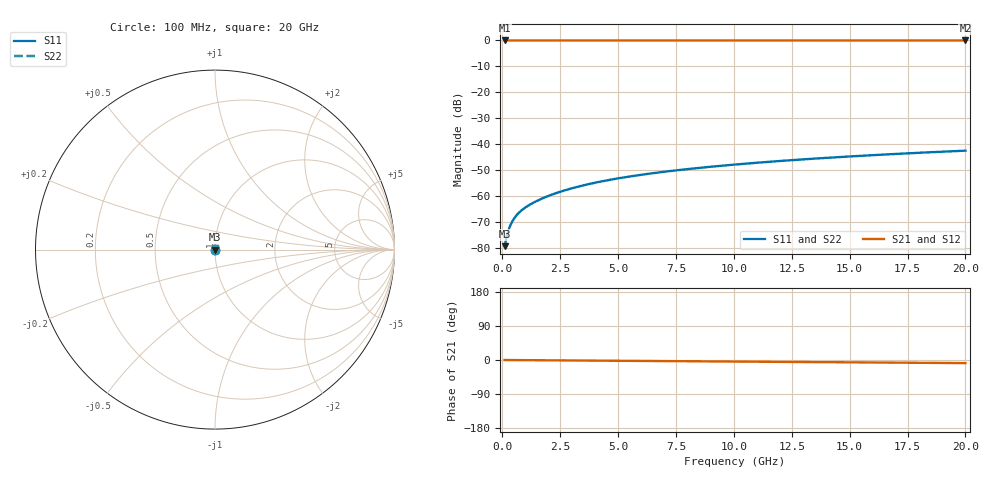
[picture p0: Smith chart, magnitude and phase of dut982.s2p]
! Touchstone file exported from HFSS 2026.1.0
!  File:  C:/ffzhzh/LocalFiles/Ansys_Project_Files/temp_train_TSV_982_1783188003_22436.aedt
!  Generated:  02:01:39 AM Jul  5, 2026
!  Design:  TSV
!  Project:  temp_train_TSV_982_1783188003_22436
! Variables:
!  h_bsmrdl = 2um
!  h_ox = 20um
!  h_rdl = 5um
!  h_sub = 78.72um
!  h_tmrdl = 5um
!  h_tsv = 78.72um
!  h_via = 3um
!  l_bsmrdl = 300um
!  l_sub = 427.46um
!  l_tmrdl = 200um
!  m_sub = 200um
!  pitch = 57.64um
!  r_tsv = 13.73um
!  s_tmrdl = 10um
!  w_bsmrdl = 18um
!  w_sub = 500um
!  w_tmrdl = 12um
!  x_tsv_center1 = 206um
!  x_tsv_center2 = 524um
!  x_tsv_center3 = 736um
!  x_tsv_center4 = 1054um
!  x_tsv_center5 = 1266um
!  x_tsv_center6 = 1584um
# GHz S MA R 50.000000
! Terminal data exported
! Port[1] = TSV1_1_T1
! Port[2] = TSV1_1_T2
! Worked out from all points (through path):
!   200 points, 100 MHz to 20 GHz, reference 50 ohm
!   highest |S21| = 0.00 dB at 100 MHz (marker M1); lowest = 0.0 dB at 20 GHz (marker M2)
!   group delay of S21, straight-line fit = 1.13 ps
!   lowest |S11| = -79.2 dB at 100 MHz (marker M3), VSWR 1.00, Z = 50 + j0.00772 ohm
!   |S11| at or under -10 dB: start of sweep to end of sweep
!   |S22| runs from -79.2 to -42.4 dB; largest |S21 - S12| = 2.1e-15
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0.1  0.0001099 44.7  0.9999 -0.0  0.9999 -0.0  0.0001099 44.7
! Gamma 0 0 0 0
! Port Impedance 50 0 50 0
0.2  0.0001763 58.9  0.9999 -0.1  0.9999 -0.1  0.0001763 58.9
0.3  0.000245 63.4  0.9999 -0.1  0.9999 -0.1  0.000245 63.4
0.4  0.0003099 64.9  0.9999 -0.2  0.9999 -0.2  0.0003099 64.9
0.5  0.0003696 65.4  0.9998 -0.2  0.9998 -0.2  0.0003696 65.4
0.6  0.0004246 65.6  0.9998 -0.3  0.9998 -0.3  0.0004246 65.6
0.7  0.0004755 65.7  0.9998 -0.3  0.9998 -0.3  0.0004755 65.7
0.9  0.0005687 66.2  0.9998 -0.4  0.9998 -0.4  0.0005687 66.2
1.1  0.000655 66.9  0.9997 -0.5  0.9997 -0.5  0.000655 66.9
1.3  0.0007379 67.8  0.9997 -0.5  0.9997 -0.5  0.0007379 67.8
1.6  0.0008601 69.1  0.9997 -0.7  0.9997 -0.7  0.0008601 69.1
1.9  0.0009816 70.2  0.9997 -0.8  0.9997 -0.8  0.0009816 70.2
2.6  0.001265 72.3  0.9996 -1.1  0.9996 -1.1  0.001265 72.3
3.5  0.001627 73.8  0.9996 -1.4  0.9996 -1.4  0.001627 73.8
4.2  0.001905 74.5  0.9995 -1.7  0.9995 -1.7  0.001905 74.5
5  0.002216 75.0  0.9995 -2.1  0.9995 -2.1  0.002216 75.0
6.8  0.002898 75.6  0.9994 -2.8  0.9994 -2.8  0.002898 75.6
8.3  0.003453 75.8  0.9993 -3.4  0.9993 -3.4  0.003453 75.8
10.1  0.004109 75.9  0.9993 -4.1  0.9993 -4.1  0.004109 75.9
13.4  0.005291 75.7  0.9992 -5.5  0.9992 -5.5  0.005291 75.7
16.7  0.006447 75.1  0.9991 -6.8  0.9991 -6.8  0.006447 75.1
20  0.007571 74.2  0.999 -8.2  0.999 -8.2  0.007571 74.2
